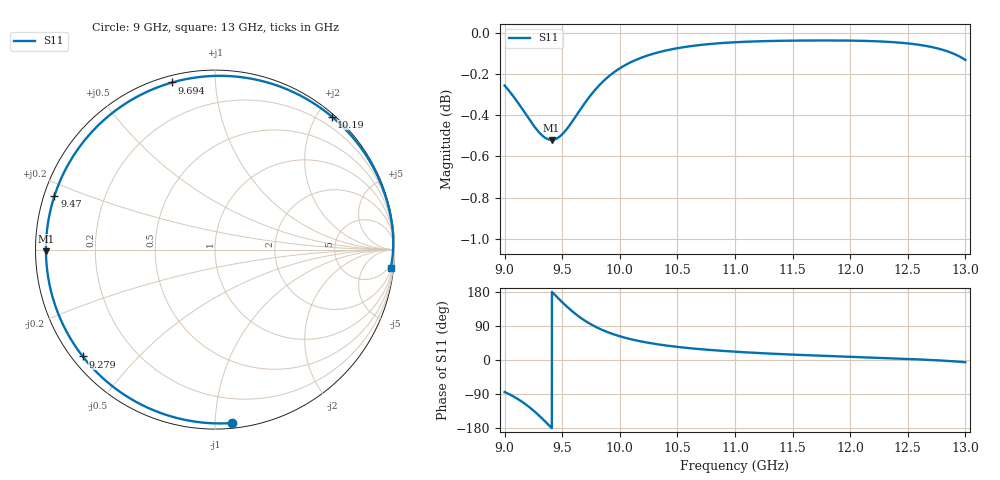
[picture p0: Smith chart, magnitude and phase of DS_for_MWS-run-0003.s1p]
! TOUCHSTONE file generated by CST DESIGN STUDIO
! Date and time: Tue Feb  4 17:12:46 2025
! Project name: C:\Work\MatlabApps\UnitCellOptimizationMatlab\CST\unitcell.cst
! Tree item: Tasks\Sweep1\SPara1\S-Parameters
! Header version: 2024
! Port assignment regex: !\s*Touchstone port\s*([0-9]+)\s*=\s*(CST MWS port|CST DES external port|CST DES block port)\s*(.+)\s* \(\"(.*)\"\)(\s*mode\s*([0-9]+))?.*
! Touchstone port assignment:
! Touchstone port 1 = CST DES external port 1 ("")
# GHz S MA R 50
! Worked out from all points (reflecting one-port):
!   4001 points, 9 GHz to 13 GHz, reference 50 ohm
!   lowest |S11| = -0.5 dB at 9.408 GHz (marker M1), VSWR 33.43, Z = 1.5 - j0.27 ohm
!   phase of S11 starts at -84 deg and turns -282 deg over the sweep
!   S11 on the Smith chart (normalised r, x): 9 GHz: 0.03, -1.10; 9.279 GHz: 0.03, -0.35; 9.47 GHz: 0.03, +0.16; 9.694 GHz: 0.03, +0.78; 10.19 GHz: 0.04, +2.21; 13 GHz: 3, -19
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9  0.971 -84.3
9.02  0.9695 -87.2
9.084  0.9644 -97.4
9.154  0.9583 -110.8
9.218  0.9525 -125.3
9.279  0.9474 -141.1
9.347  0.9432 -160.7
9.408  0.9419 -179.4
9.47  0.9433 161.5
9.5  0.9449 152.6
9.548  0.9483 138.9
9.595  0.9523 126.5
9.643  0.9567 115.1
9.694  0.9613 104.4
9.761  0.9668 92.2
9.842  0.9724 80.1
9.918  0.9767 70.8
10  0.9804 62.6
10.089  0.9836 55.4
10.189  0.9863 48.7
10.332  0.9892 41.3
10.5  0.9915 34.6
10.723  0.9935 28.0
11  0.9948 21.9
11.5  0.9957 14.2
12  0.9957 8.4
12.5  0.9942 2.8
13  0.985 -5.9
